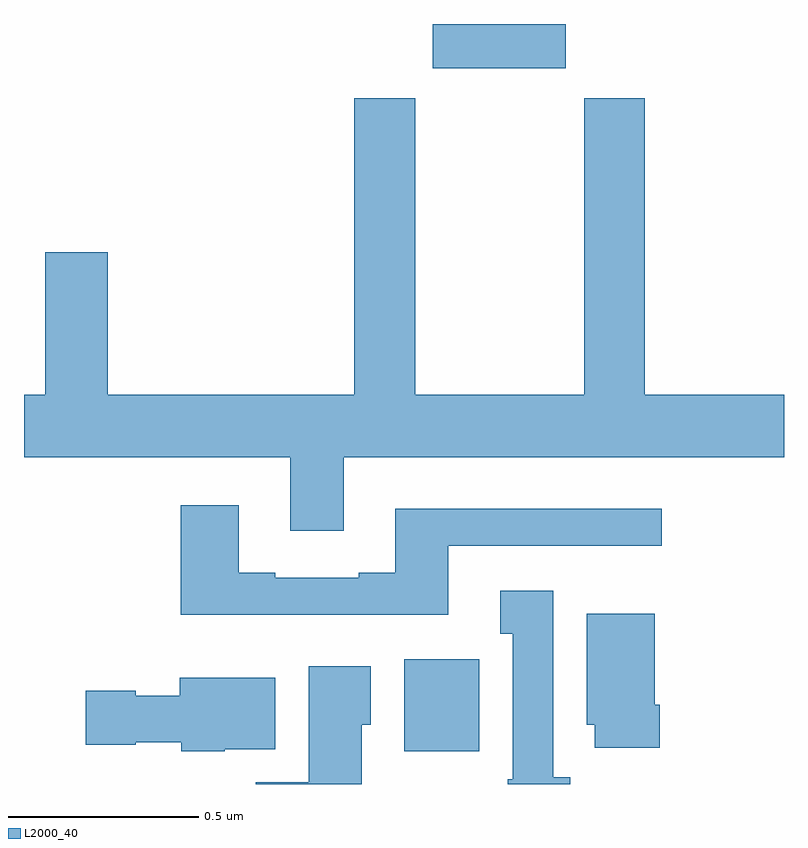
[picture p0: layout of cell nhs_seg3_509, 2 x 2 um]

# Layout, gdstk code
import gdstk
lib = gdstk.Library(unit=1e-6, precision=1e-09)
def R(c, l, rs):  # rectangles x0, y0, x1, y1
    for r in rs: c.add(gdstk.rectangle(r[:2], r[2:], *l))
def P(c, l, *ps):  # polygons
    for p in ps: c.add(gdstk.Polygon(p, *l))
L2000_40 = (2000, 40)

nhs_seg3_509 = lib.new_cell('nhs_seg3_509')
R(nhs_seg3_509, L2000_40, [(118.001,689.486,118.198,689.728), (118.076,691.283,118.426,691.4)])
P(nhs_seg3_509, L2000_40, [(117.841,690.26),(119,690.26),(119,690.424),(118.634,690.424),(118.634,691.204),(118.474,691.204),(118.474,690.424),(118.029,690.424),(118.029,691.204),(117.869,691.204),(117.869,690.424),(117.22,690.424),(117.22,690.799),(117.056,690.799),(117.056,690.424),(117,690.424),(117,690.26),(117.701,690.26),(117.701,690.066),(117.841,690.066)],
  [(118.117,690.027),(118.678,690.027),(118.678,690.124),(117.977,690.124),(117.977,689.956),(117.881,689.956),(117.881,689.943),(117.661,689.943),(117.661,689.956),(117.565,689.956),(117.565,690.133),(117.413,690.133),(117.413,689.846),(118.117,689.846)],
  [(118.438,689.418),(118.393,689.418),(118.393,689.908),(118.253,689.908),(118.253,689.795),(118.286,689.795),(118.286,689.412),(118.273,689.412),(118.273,689.4),(118.438,689.4)],
  [(118.673,689.608),(118.66,689.608),(118.66,689.848),(118.481,689.848),(118.481,689.556),(118.502,689.556),(118.502,689.496),(118.673,689.496)],
  [(117.889,689.556),(117.913,689.556),(117.913,689.71),(117.749,689.71),(117.749,689.404),(117.61,689.404),(117.61,689.4),(117.889,689.4)],
  [(117.528,689.492),(117.661,689.492),(117.661,689.68),(117.41,689.68),(117.41,689.632),(117.294,689.632),(117.294,689.645),(117.162,689.645),(117.162,689.503),(117.294,689.503),(117.294,689.51),(117.414,689.51),(117.414,689.486),(117.528,689.486)])

lib.write_gds('nhs_seg3_509.gds')
